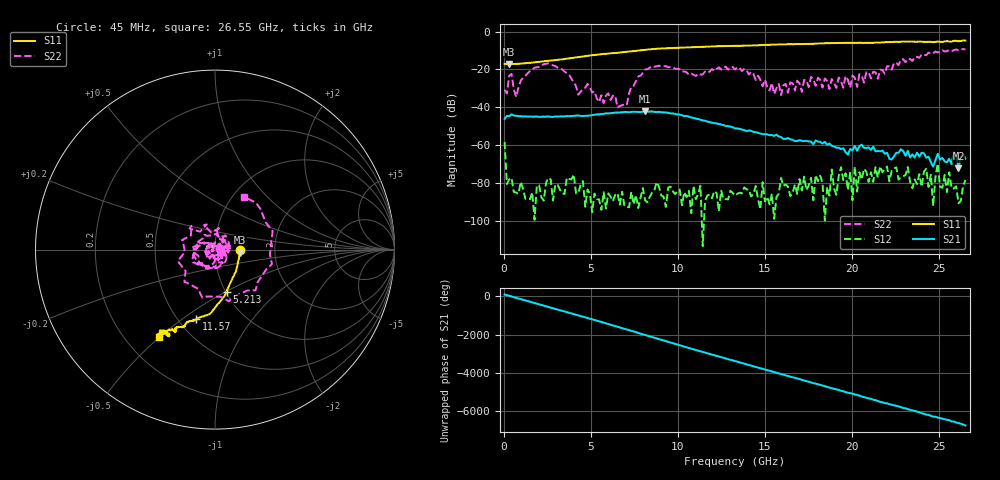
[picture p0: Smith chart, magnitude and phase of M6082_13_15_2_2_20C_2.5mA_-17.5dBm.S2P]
!  2-Port S-parameters saved by WinCal
! VAR MeasName=S-Parameters (CALIBRATED_DATA) read from VNA (C)
! VAR MeasDate=10/16/2015 12:40:33 PM
! VAR NAME=M6082_13_15_2_2_20C_2.5mA_-17.5dBm
! VAR FILENAME=M6082_13_15_2_2_20C_2.5mA_-17.5dBm.S2P
! VAR DATE=10/16/2015 12:40:33 PM
! VAR PHYS_PORTS=2,1
! VAR ObjTypeName=DATASET
! VAR IndexType=Frequency
# Hz S DB R 50
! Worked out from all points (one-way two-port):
!   201 points, 45 MHz to 26.55 GHz, reference 50 ohm
!   highest |S21| = -42.17 dB at 8.127 GHz (marker M1); lowest = -72.2 dB at 26.15 GHz (marker M2)
!   lowest |S11| = -17.2 dB at 310 MHz (marker M3), VSWR 1.32, Z = 65.9 - j2.19 ohm
!   |S11| at or under -10 dB: start of sweep to 7.728 GHz
!   |S22| runs from -40.1 to -9.2 dB; largest |S21 - S12| = 0.0078
!   S11 on the Smith chart (normalised r, x): 45 MHz: 1.33, -0.00; 5.213 GHz: 1.01, -0.50; 11.57 GHz: 0.61, -0.57; 26.55 GHz: 0.34, -0.50
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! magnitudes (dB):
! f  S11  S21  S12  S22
! 45 MHz  -17.0  -46.2  -58.3  -30.7
! 177.5 MHz  -17.2  -44.6  -80.6  -32.7
! 310 MHz  -17.2  -44.7  -78.1  -23.3
! 707.5 MHz  -17.1  -44.6  -85.1  -34.6
! 2.43 GHz  -15.5  -45.0  -79.8  -16.9
! 4.55 GHz  -13.2  -44.7  -79.0  -30.4
! 5.213 GHz  -12.3  -44.0  -85.6  -31.6
! 7.067 GHz  -10.7  -42.5  -92.5  -39.0
! 8.127 GHz  -9.6  -42.2  -89.3  -20.0
! 8.922 GHz  -9.0  -42.4  -82.0  -18.0
! 11.57 GHz  -7.9  -47.1  -89.6  -21.1
! 13.29 GHz  -7.5  -51.1  -86.8  -20.1
! 15.95 GHz  -6.7  -55.7  -77.4  -33.5
! 17.8 GHz  -6.5  -59.5  -89.2  -25.1
! 20.05 GHz  -5.9  -62.7  -89.2  -23.3
! 20.18 GHz  -5.9  -60.4  -71.4  -24.4
! 22.17 GHz  -5.6  -67.3  -79.2  -18.4
! 24.69 GHz  -5.6  -71.4  -92.2  -11.6
! 24.95 GHz  -5.2  -64.6  -69.8  -11.0
! 25.09 GHz  -5.4  -67.7  -82.1  -10.8
! 26.15 GHz  -5.1  -72.2  -90.7  -9.9
! 26.55 GHz  -4.7  -67.2  -78.5  -9.5
